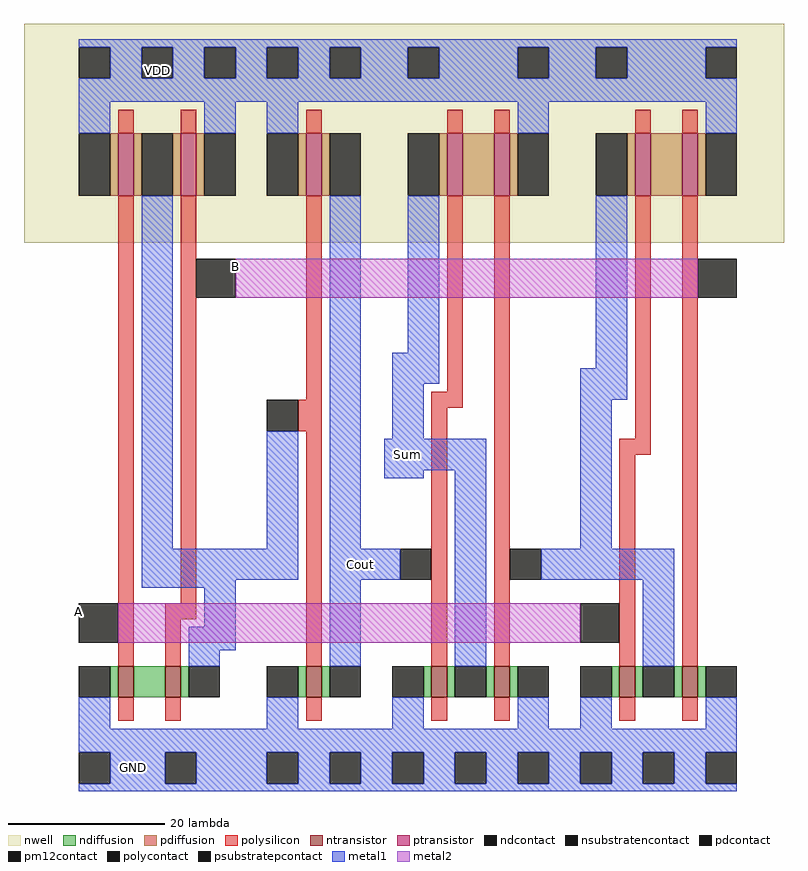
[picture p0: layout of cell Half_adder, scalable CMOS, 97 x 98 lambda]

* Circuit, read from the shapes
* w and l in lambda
.subckt Half_adder A B Cout GND Sum VDD
M1 n1 A GND GND nfet w=4 l=2
M2 n2 B n1 GND nfet w=4 l=2
M3 Cout n2 GND GND nfet w=4 l=2
M4 Sum Cout GND GND nfet w=4 l=2
M5 GND n3 Sum GND nfet w=4 l=2
M6 n3 A GND GND nfet w=4 l=2
M7 GND B n3 GND nfet w=4 l=2
M8 n2 A VDD VDD pfet w=8 l=2
M9 VDD B n2 VDD pfet w=8 l=2
M10 Cout n2 VDD VDD pfet w=8 l=2
M11 n4 Cout Sum VDD pfet w=8 l=2
M12 VDD n3 n4 VDD pfet w=8 l=2
M13 n5 A n3 VDD pfet w=8 l=2
M14 VDD B n5 VDD pfet w=8 l=2
.ends

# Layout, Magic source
magic
tech scmos
<< nwell >>
rect 0 70 97 98
<< ntransistor >>
rect 12 12 14 16
rect 18 12 20 16
rect 36 12 38 16
rect 52 12 54 16
rect 60 12 62 16
rect 76 12 78 16
rect 84 12 86 16
<< ptransistor >>
rect 12 76 14 84
rect 20 76 22 84
rect 36 76 38 84
rect 54 76 56 84
rect 60 76 62 84
rect 78 76 80 84
rect 84 76 86 84
<< ndiffusion >>
rect 11 12 12 16
rect 14 12 18 16
rect 20 12 21 16
rect 35 12 36 16
rect 38 12 39 16
rect 51 12 52 16
rect 54 12 55 16
rect 59 12 60 16
rect 62 12 63 16
rect 75 12 76 16
rect 78 12 79 16
rect 83 12 84 16
rect 86 12 87 16
<< pdiffusion >>
rect 11 76 12 84
rect 14 76 15 84
rect 19 76 20 84
rect 22 76 23 84
rect 35 76 36 84
rect 38 76 39 84
rect 53 76 54 84
rect 56 76 60 84
rect 62 76 63 84
rect 77 76 78 84
rect 80 76 84 84
rect 86 76 87 84
<< ndcontact >>
rect 7 12 11 16
rect 21 12 25 16
rect 31 12 35 16
rect 39 12 43 16
rect 47 12 51 16
rect 55 12 59 16
rect 63 12 67 16
rect 71 12 75 16
rect 79 12 83 16
rect 87 12 91 16
<< pdcontact >>
rect 7 76 11 84
rect 15 76 19 84
rect 23 76 27 84
rect 31 76 35 84
rect 39 76 43 84
rect 49 76 53 84
rect 63 76 67 84
rect 73 76 77 84
rect 87 76 91 84
<< psubstratepcontact >>
rect 7 1 11 5
rect 18 1 22 5
rect 31 1 35 5
rect 39 1 43 5
rect 47 1 51 5
rect 55 1 59 5
rect 63 1 67 5
rect 71 1 75 5
rect 79 1 83 5
rect 87 1 91 5
<< nsubstratencontact >>
rect 7 91 11 95
rect 15 91 19 95
rect 23 91 27 95
rect 31 91 35 95
rect 39 91 43 95
rect 49 91 53 95
rect 63 91 67 95
rect 73 91 77 95
rect 87 91 91 95
<< polysilicon >>
rect 12 84 14 87
rect 20 84 22 87
rect 36 84 38 87
rect 54 84 56 87
rect 60 84 62 87
rect 78 84 80 87
rect 84 84 86 87
rect 12 16 14 76
rect 20 24 22 76
rect 36 50 38 76
rect 54 51 56 76
rect 35 46 38 50
rect 18 22 22 24
rect 18 16 20 22
rect 36 16 38 46
rect 52 49 56 51
rect 52 16 54 49
rect 60 16 62 76
rect 78 45 80 76
rect 76 43 80 45
rect 76 16 78 43
rect 84 16 86 76
rect 12 9 14 12
rect 18 9 20 12
rect 36 9 38 12
rect 52 9 54 12
rect 60 9 62 12
rect 76 9 78 12
rect 84 9 86 12
<< polycontact >>
rect 31 46 35 50
rect 48 27 52 31
rect 62 27 66 31
<< metal1 >>
rect 7 95 91 96
rect 11 91 15 95
rect 19 91 23 95
rect 27 91 31 95
rect 35 91 39 95
rect 43 91 49 95
rect 53 91 63 95
rect 67 91 73 95
rect 77 91 87 95
rect 7 88 91 91
rect 7 84 11 88
rect 23 84 27 88
rect 31 84 35 88
rect 63 84 67 88
rect 87 84 91 88
rect 15 31 19 76
rect 31 31 35 46
rect 15 27 35 31
rect 39 31 43 76
rect 49 56 53 76
rect 47 52 53 56
rect 73 54 77 76
rect 47 45 51 52
rect 71 50 77 54
rect 46 41 59 45
rect 46 40 51 41
rect 39 27 48 31
rect 15 26 27 27
rect 23 21 27 26
rect 21 18 27 21
rect 21 16 25 18
rect 39 16 43 27
rect 55 16 59 41
rect 71 31 75 50
rect 66 27 83 31
rect 79 16 83 27
rect 7 8 11 12
rect 31 8 35 12
rect 47 8 51 12
rect 63 8 67 12
rect 71 8 75 12
rect 87 8 91 12
rect 7 5 91 8
rect 11 1 18 5
rect 22 1 31 5
rect 35 1 39 5
rect 43 1 47 5
rect 51 1 55 5
rect 59 1 63 5
rect 67 1 71 5
rect 75 1 79 5
rect 83 1 87 5
rect 7 0 91 1
<< pm12contact >>
rect 22 63 27 68
rect 86 63 91 68
rect 7 19 12 24
rect 71 19 76 24
<< metal2 >>
rect 27 63 86 68
rect 12 19 71 24
<< labels >>
rlabel nwell 7 88 27 96 1 VDD
rlabel metal2 27 66 27 68 1 B
rlabel metal2 7 22 7 24 1 A
rlabel metal1 14 3 14 3 1 GND
rlabel metal1 43 29 43 29 1 Cout
rlabel metal1 49 43 49 43 1 Sum
<< end >>
